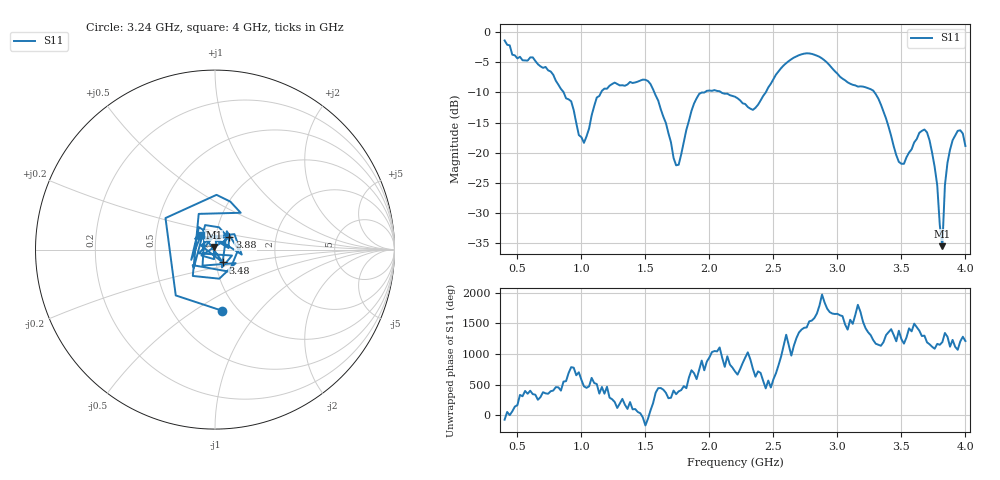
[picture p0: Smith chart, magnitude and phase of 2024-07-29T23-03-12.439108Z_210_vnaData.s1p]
!Created with skrf (http://scikit-rf.org).
# Hz S RI R 50.0
!freq ReS11 ImS11
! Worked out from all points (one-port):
!   181 points, 400 MHz to 4 GHz, reference 50 ohm
!   lowest |S11| = -35.5 dB at 3.82 GHz (marker M1), VSWR 1.03, Z = 49.3 + j1.49 ohm
!   |S11| at or under -10 dB: 1.57 GHz to 1.962 GHz (392 MHz wide, 22.2 % of centre); 2.093 GHz to 2.44 GHz (347.8 MHz wide, 15.3 % of centre); 3.29 GHz to end of sweep (the widest 3 of 4)
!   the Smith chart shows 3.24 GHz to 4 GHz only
!   S11 on the Smith chart (normalised r, x): 3.24 GHz: 0.85, -0.65; 3.48 GHz: 1.08, -0.16; 3.88 GHz: 1.16, +0.16; 4 GHz: 0.85, +0.14
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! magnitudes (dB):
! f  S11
! 400 MHz  -1.4
! 720 MHz  -5.8
! 860 MHz  -9.9
! 920 MHz  -11.5
! 1.02 GHz  -18.4
! 1.12 GHz  -10.9
! 1.3 GHz  -8.8
! 1.54 GHz  -8.6
! 1.76 GHz  -22.0
! 1.86 GHz  -13.1
! 1.92 GHz  -10.3
! 2.2 GHz  -10.7
! 2.34 GHz  -12.9
! 2.66 GHz  -4.2
! 2.86 GHz  -4.1
! 3.1 GHz  -8.6
! 3.24 GHz  -9.3
! 3.34 GHz  -12.0
! 3.48 GHz  -21.5
! 3.56 GHz  -20.0
! 3.7 GHz  -16.6
! 3.78 GHz  -25.4
! 3.8 GHz  -32.0
! 3.82 GHz  -35.5
! 3.84 GHz  -25.4
! 3.88 GHz  -19.5
! 3.94 GHz  -16.4
! 4 GHz  -18.9
